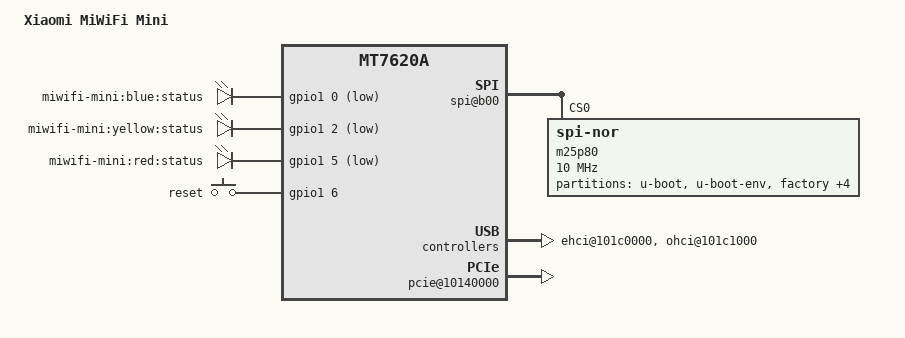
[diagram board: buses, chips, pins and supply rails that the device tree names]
/dts-v1/;

/include/ "mt7620a.dtsi"

/ {
	compatible = "xiaomi,miwifi-mini", "ralink,mt7620a-soc";
	model = "Xiaomi MiWiFi Mini";

	chosen {
		bootargs = "console=ttyS0,115200";
	};

	palmbus@10000000 {
		gpio0: gpio@600 {
			status = "okay";
		};

		gpio1: gpio@638 {
			status = "okay";
		};

		gpio2: gpio@660 {
			status = "okay";
		};

		spi@b00 {
			status = "okay";

			m25p80@0 {
				#address-cells = <1>;
				#size-cells = <1>;
				compatible = "jedec,spi-nor";
				reg = <0 0>;
				linux,modalias = "m25p80", "w25q128";
				spi-max-frequency = <10000000>;

				partition@0 {
					label = "u-boot";
					reg = <0x0 0x30000>;
				};

				partition@30000 {
					label = "u-boot-env";
					reg = <0x30000 0x10000>;
					read-only;
				};

				factory: partition@40000 {
					label = "factory";
					reg = <0x40000 0x10000>;
					read-only;
				};

				partition@50000 {
					label = "firmware";
					reg = <0x50000 0xf80000>;
				};

				partition@fd0000 {
					label = "crash";
					reg = <0xfd0000 0x10000>;
				};

				partition@fe0000 {
					label = "reserved";
					reg = <0xfe0000 0x10000>;
					read-only;
				};

				partition@ff0000 {
					label = "Bdata";
					reg = <0xff0000 0x10000>;
				};
			};
		};
	};

	ehci@101c0000 {
		status = "okay";
	};

	ohci@101c1000 {
		status = "okay";
	};

	ethernet@10100000 {
		pinctrl-names = "default";
		pinctrl-0 = <&ephy_pins>;
		mtd-mac-address = <&factory 0x4>;
		mediatek,portmap = "llllw";
	};

	wmac@10180000 {
		ralink,mtd-eeprom = <&factory 0>;
	};

	pcie@10140000 {
		status = "okay";

		pcie-bridge {
			mt76@0,0 {
				reg = <0x0000 0 0 0 0>;
				device_type = "pci";
				mediatek,mtd-eeprom = <&factory 0x8000>;
				mediatek,2ghz = <0>;
			};
		};
	};

	pinctrl {
		state_default: pinctrl0 {
			gpio {
				ralink,group = "i2c", "rgmii1";
				ralink,function = "gpio";
			};

			pa {
				ralink,group = "pa";
				ralink,function = "pa";
			};
		};
	};

	gpio-leds {
		compatible = "gpio-leds";

		blue {
			label = "miwifi-mini:blue:status";
			gpios = <&gpio1 0 1>;
		};

		yellow {
			label = "miwifi-mini:yellow:status";
			gpios = <&gpio1 2 1>;
		};

		red {
			label = "miwifi-mini:red:status";
			gpios = <&gpio1 5 1>;
		};
	};

	gpio-keys-polled {
		compatible = "gpio-keys-polled";
		#address-cells = <1>;
		#size-cells = <0>;
		poll-interval = <20>;

		reset {
			label = "reset";
			gpios = <&gpio1 6 0>;
			linux,code = <0x198>;
		};
	};
};
